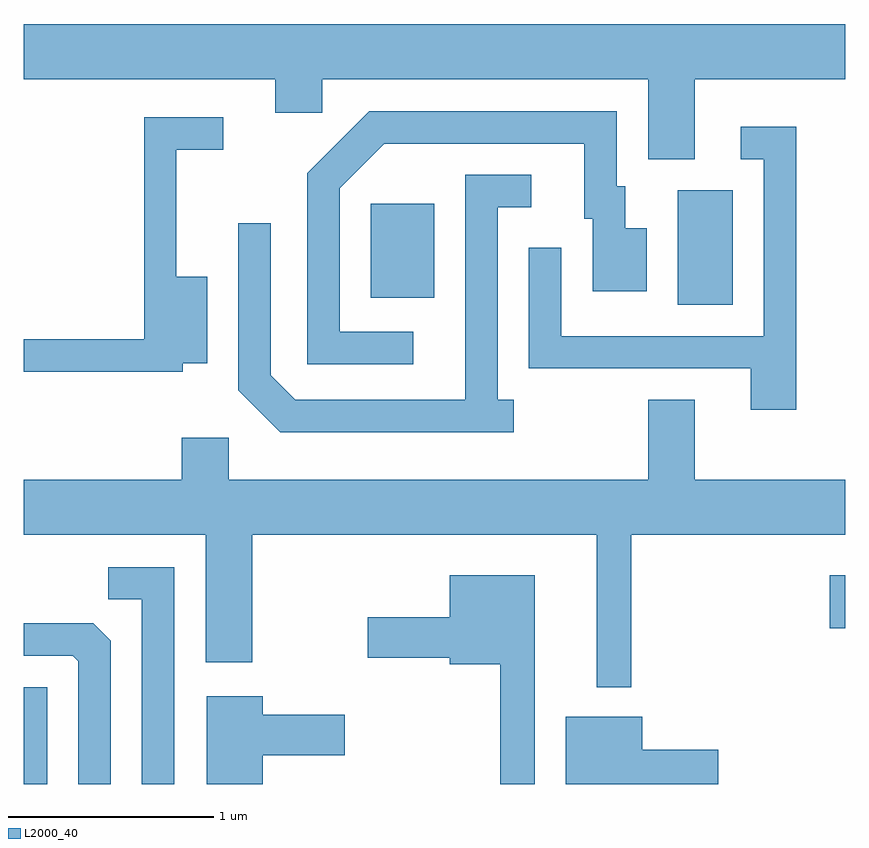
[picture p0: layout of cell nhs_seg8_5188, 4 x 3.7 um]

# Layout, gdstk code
import gdstk
lib = gdstk.Library(unit=1e-6, precision=1e-09)
def R(c, l, rs):  # rectangles x0, y0, x1, y1
    for r in rs: c.add(gdstk.rectangle(r[:2], r[2:], *l))
def P(c, l, *ps):  # polygons
    for p in ps: c.add(gdstk.Polygon(p, *l))
L2000_40 = (2000, 40)

nhs_seg8_5188 = lib.new_cell('nhs_seg8_5188')
R(nhs_seg8_5188, L2000_40, [(341.611,1806.342,341.724,1806.814), (345.536,1807.101,345.611,1807.359), (344.796,1808.676,345.064,1809.234), (343.301,1808.711,343.609,1809.169)])
P(nhs_seg8_5188, L2000_40, [(344.879,1809.776),(345.611,1809.776),(345.611,1810.044),(341.611,1810.044),(341.611,1809.776),(342.836,1809.776),(342.836,1809.611),(343.064,1809.611),(343.064,1809.776),(344.651,1809.776),(344.651,1809.386),(344.879,1809.386)],
  [(343.508,1808.544),(343.149,1808.544),(343.149,1809.244),(343.367,1809.461),(344.341,1809.461),(344.341,1809.096),(344.381,1809.096),(344.381,1808.741),(344.644,1808.741),(344.644,1809.049),(344.539,1809.049),(344.539,1809.254),(344.499,1809.254),(344.499,1809.619),(343.294,1809.619),(342.991,1809.317),(342.991,1808.386),(343.508,1808.386)],
  [(342.384,1808.391),(342.504,1808.391),(342.504,1808.814),(342.354,1808.814),(342.354,1809.431),(342.583,1809.431),(342.583,1809.589),(342.196,1809.589),(342.196,1808.509),(341.611,1808.509),(341.611,1808.351),(342.384,1808.351)],
  [(345.374,1809.544),(345.103,1809.544),(345.103,1809.386),(345.216,1809.386),(345.216,1808.524),(344.229,1808.524),(344.229,1808.953),(344.071,1808.953),(344.071,1808.366),(345.151,1808.366),(345.151,1808.166),(345.374,1808.166)],
  [(343.998,1808.214),(343.919,1808.214),(343.919,1809.151),(344.083,1809.151),(344.083,1809.309),(343.761,1809.309),(343.761,1808.214),(342.932,1808.214),(342.814,1808.332),(342.814,1809.073),(342.656,1809.073),(342.656,1808.259),(342.859,1808.056),(343.998,1808.056)],
  [(344.569,1807.556),(345.611,1807.556),(345.611,1807.824),(344.879,1807.824),(344.879,1808.214),(344.651,1808.214),(344.651,1807.824),(342.609,1807.824),(342.609,1808.029),(342.381,1808.029),(342.381,1807.824),(341.611,1807.824),(341.611,1807.556),(342.496,1807.556),(342.496,1806.936),(342.724,1806.936),(342.724,1807.556),(344.401,1807.556),(344.401,1806.813),(344.569,1806.813)],
  [(342.344,1807.399),(342.023,1807.399),(342.023,1807.241),(342.186,1807.241),(342.186,1806.342),(342.344,1806.342)],
  [(344.099,1807.359),(343.686,1807.359),(343.686,1807.154),(343.286,1807.154),(343.286,1806.956),(343.686,1806.956),(343.686,1806.926),(343.931,1806.926),(343.931,1806.342),(344.099,1806.342)],
  [(342.034,1807.039),(341.949,1807.124),(341.611,1807.124),(341.611,1806.966),(341.849,1806.966),(341.876,1806.939),(341.876,1806.342),(342.034,1806.342)],
  [(342.774,1806.481),(343.174,1806.481),(343.174,1806.679),(342.774,1806.679),(342.774,1806.769),(342.501,1806.769),(342.501,1806.342),(342.774,1806.342)],
  [(344.994,1806.509),(344.624,1806.509),(344.624,1806.669),(344.251,1806.669),(344.251,1806.342),(344.994,1806.342)])

lib.write_gds('nhs_seg8_5188.gds')
